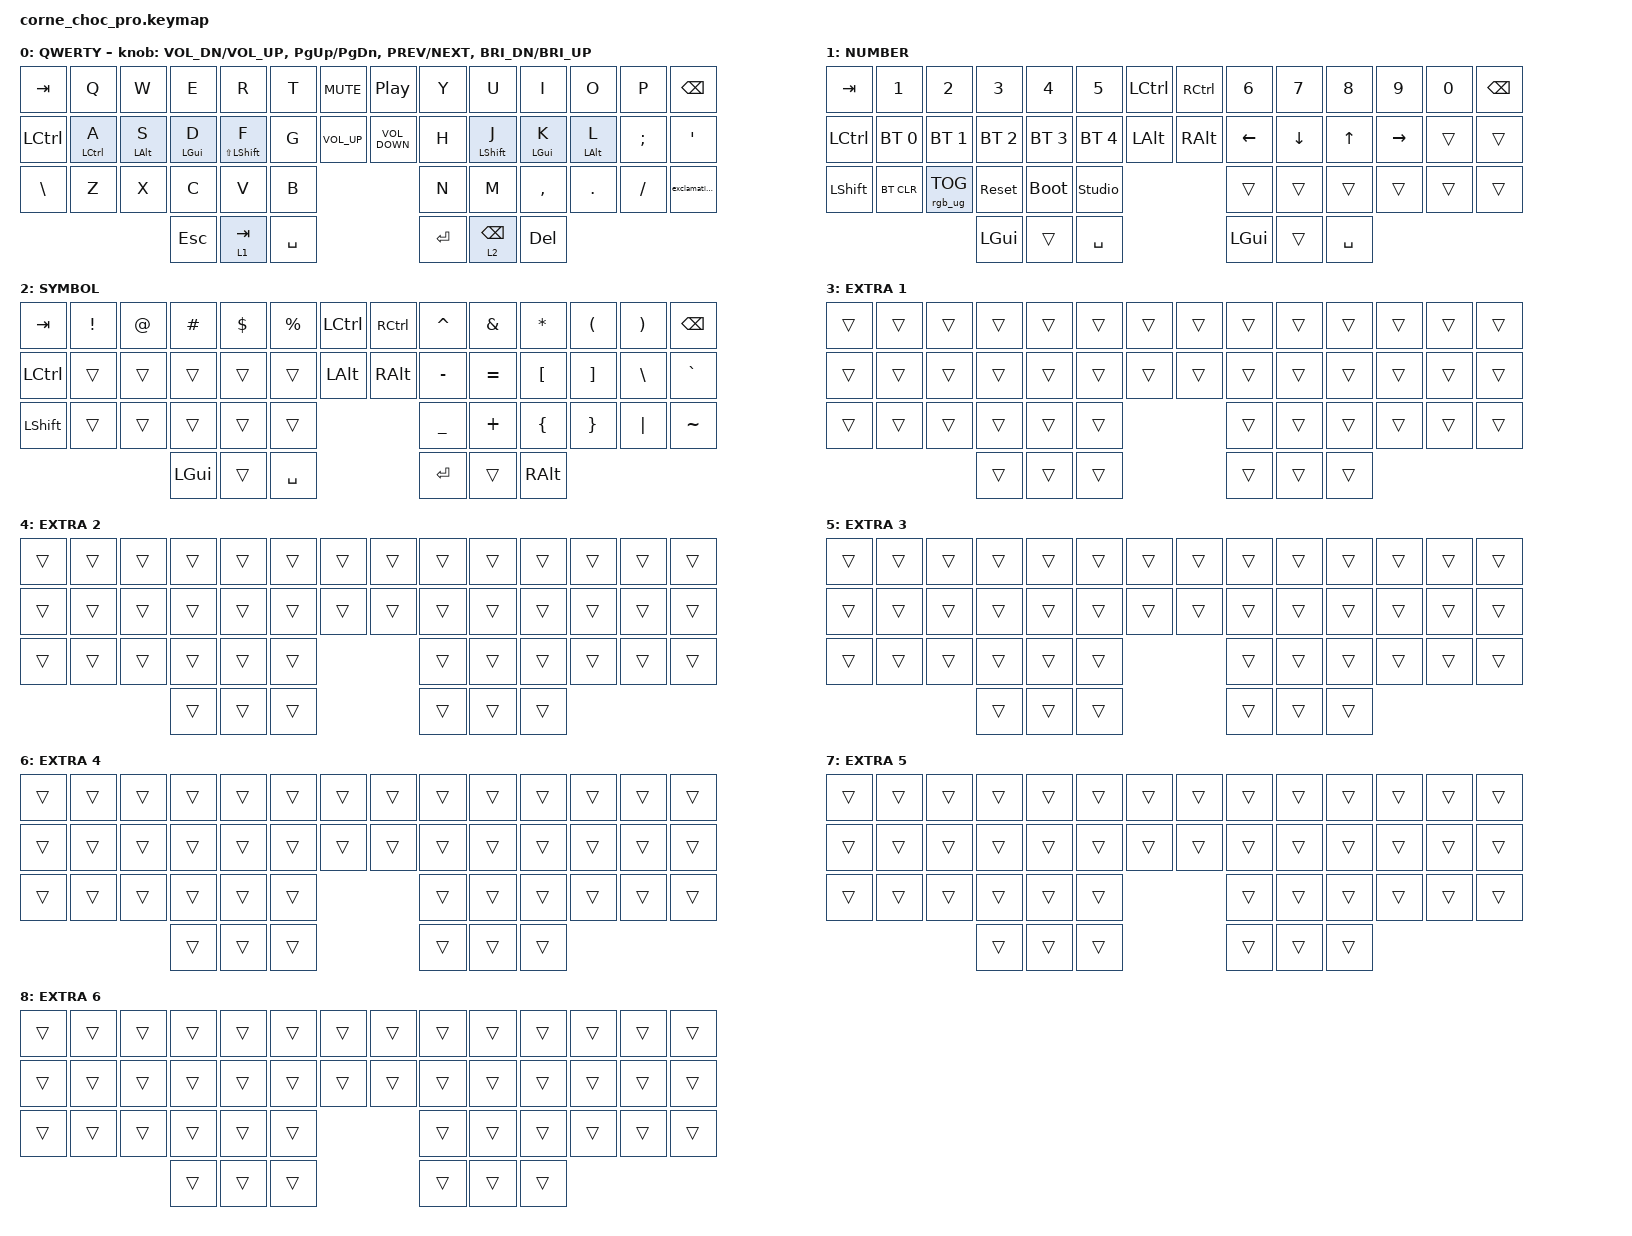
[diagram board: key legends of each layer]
/*
 * Copyright (c) 2020 The ZMK Contributors
 *
 * SPDX-License-Identifier: MIT
 */

#include <behaviors.dtsi>
#include <dt-bindings/zmk/bt.h>
#include <dt-bindings/zmk/keys.h>
#include <dt-bindings/zmk/rgb.h>

/ {
    chosen { zmk,physical-layout = &default_layout; };
};

/ {
    behaviors {
        hml: hml {
            compatible = "zmk,behavior-hold-tap";
            label = "HML";
            bindings = <&kp>, <&kp>;

            #binding-cells = <2>;
            tapping-term-ms = <180>;
            quick-tap-ms = <160>;
            require-prior-idle-ms = <80>;
            flavor = "tap-preferred";
            hold-while-undecided;
            hold-trigger-key-positions = <7 8 9 10 11 12 13 21 22 23 24 25 26 27 34 35 36 37 38 39 43 44 45>;
            hold-trigger-on-release;
        };

        hmr: hmr {
            compatible = "zmk,behavior-hold-tap";
            label = "HMR";
            bindings = <&kp>, <&kp>;

            #binding-cells = <2>;
            tapping-term-ms = <180>;
            quick-tap-ms = <160>;
            require-prior-idle-ms = <80>;
            flavor = "tap-preferred";
            hold-while-undecided;
            hold-trigger-on-release;
            hold-trigger-key-positions = <0 1 15 29 28 14 2 3 4 5 6 16 17 18 19 20 30 31 32 33 40 41 42>;
        };

        thumb_layers: thumb_layers {
            compatible = "zmk,behavior-hold-tap";
            label = "THUMB_LAYERS";
            bindings = <&mo>, <&kp>;

            #binding-cells = <2>;
            flavor = "tap-preferred";
            tapping-term-ms = <180>;
            quick-tap-ms = <160>;
            require-prior-idle-ms = <80>;
            hold-trigger-on-release;
        };

        exclamationDBTap: exclamationDBTap {
            compatible = "zmk,behavior-tap-dance";
            label = "EXCLAMATIONDBTAP";
            #binding-cells = <0>;
            bindings = <&kp EXCL>, <&kp QUESTION>;
        };
    };

    keymap {
        compatible = "zmk,keymap";

        default_layer {
            display-name = "QWERTY";

            // --------------------------------------------------------------------------------
            // |  TAB |  Q  |  W  |  E  |  R  |  T  |  MUTE |  PP   |  Y  |  U   |  I  |  O  |  P  | BSPC |
            // | CTRL |  A  |  S  |  D  |  F  |  G  |  LALT |  RALT |  H  |  J   |  K  |  L  |  ;  |  '   |
            // | SHFT |  Z  |  X  |  C  |  V  |  B  |               |  N  |  M   |  ,  |  .  |  /  | ESC  |
            //                    | GUI | LWR | SPC |               | ENT | RSE  | ALT |

            bindings = <
&kp TAB        &kp Q         &kp W            &kp E            &kp R                  &kp T      &kp C_MUTE       &kp C_PP           &kp Y    &kp U                      &kp I        &kp O            &kp P     &kp BSPC
&kp LCTRL      &hml LCTRL A  &hml LEFT_ALT S  &hml LEFT_GUI D  &hml LS(LEFT_SHIFT) F  &kp G      &kp C_VOLUME_UP  &kp C_VOLUME_DOWN  &kp H    &hmr LEFT_SHIFT J          &hmr LGUI K  &hmr LEFT_ALT L  &kp SEMI  &kp SQT
&kp BACKSLASH  &kp Z         &kp X            &kp C            &kp V                  &kp B                                          &kp N    &kp M                      &kp COMMA    &kp DOT          &kp FSLH  &exclamationDBTap
                                              &kp ESC          &thumb_layers 1 TAB    &kp SPACE                                      &kp RET  &thumb_layers 2 BACKSPACE  &kp DELETE
            >;

            sensor-bindings = <&inc_dec_kp C_VOL_DN C_VOL_UP &inc_dec_kp PG_UP PG_DN &inc_dec_kp C_PREV C_NEXT &inc_dec_kp C_BRI_DN C_BRI_UP>;
        };

        lower_layer {
            display-name = "NUMBER";

            // -----------------------------------------------------------------------------------------
            // |  TAB |  1  |  2  |  3  |  4  |  5    |  LCTRL | RCTRL |  6  |  7  |  8  |  9  |  0  | BSPC |
            // | CTRL | BT1 | BT2 | BT3 | BT4 | BT5   |  LALT  | RALT  | LFT | DWN |  UP | RGT |     |      |
            // | SHFT | BTCR| RGB | RST | BOOT| Unlock|        |       |     |     |     |     |     |      |
            //                    | GUI |     | SPC   |        | ENT   |     | ALT |

            bindings = <
&kp TAB    &kp N1        &kp N2           &kp N3        &kp N4        &kp N5          &kp LCTRL  &kp RCTRL  &kp N6    &kp N7    &kp N8     &kp N9     &kp N0  &kp BSPC
&kp LCTRL  &bt BT_SEL 0  &bt BT_SEL 1     &bt BT_SEL 2  &bt BT_SEL 3  &bt BT_SEL 4    &kp LALT   &kp RALT   &kp LEFT  &kp DOWN  &kp UP     &kp RIGHT  &trans  &trans
&kp LSHFT  &bt BT_CLR    &rgb_ug RGB_TOG  &sys_reset    &bootloader   &studio_unlock                        &trans    &trans    &trans     &trans     &trans  &trans
                                          &kp LGUI      &trans        &kp SPACE                             &kp LGUI  &trans    &kp SPACE
            >;
        };

        raise_layer {
            display-name = "SYMBOL";

            // -----------------------------------------------------------------------------------------
            // |  TAB |  !  |  @  |  #  |  $  |  %  | LCTRL | RCTRL |  ^  |  &  |  *  |  (  |  )  | BSPC |
            // | CTRL |     |     |     |     |     |  LALT | RALT  |  -  |  =  |  [  |  ]  |  \  |  `   |
            // | SHFT |     |     |     |     |     |               |  _  |  +  |  {  |  }  | "|" |  ~   |
            //                    | GUI |     | SPC |               | ENT |     | ALT |

            bindings = <
&kp TAB    &kp EXCL  &kp AT  &kp HASH  &kp DLLR  &kp PRCNT  &kp LCTRL  &kp RCTRL  &kp CARET  &kp AMPS   &kp ASTRK  &kp LPAR  &kp RPAR  &kp BSPC
&kp LCTRL  &trans    &trans  &trans    &trans    &trans     &kp LALT   &kp RALT   &kp MINUS  &kp EQUAL  &kp LBKT   &kp RBKT  &kp BSLH  &kp GRAVE
&kp LSHFT  &trans    &trans  &trans    &trans    &trans                           &kp UNDER  &kp PLUS   &kp LBRC   &kp RBRC  &kp PIPE  &kp TILDE
                             &kp LGUI  &trans    &kp SPACE                        &kp RET    &trans     &kp RALT
            >;
        };

        extra_layer_1 {
            display-name = "EXTRA 1";
            bindings = <
&trans  &trans  &trans  &trans  &trans  &trans  &trans  &trans  &trans  &trans  &trans  &trans  &trans  &trans
&trans  &trans  &trans  &trans  &trans  &trans  &trans  &trans  &trans  &trans  &trans  &trans  &trans  &trans
&trans  &trans  &trans  &trans  &trans  &trans                  &trans  &trans  &trans  &trans  &trans  &trans
                        &trans  &trans  &trans                  &trans  &trans  &trans
            >;
        };

        extra_layer_2 {
            display-name = "EXTRA 2";
            bindings = <
&trans  &trans  &trans  &trans  &trans  &trans  &trans  &trans  &trans  &trans  &trans  &trans  &trans  &trans
&trans  &trans  &trans  &trans  &trans  &trans  &trans  &trans  &trans  &trans  &trans  &trans  &trans  &trans
&trans  &trans  &trans  &trans  &trans  &trans                  &trans  &trans  &trans  &trans  &trans  &trans
                        &trans  &trans  &trans                  &trans  &trans  &trans
            >;
        };

        extra_layer_3 {
            display-name = "EXTRA 3";
            bindings = <
&trans  &trans  &trans  &trans  &trans  &trans  &trans  &trans  &trans  &trans  &trans  &trans  &trans  &trans
&trans  &trans  &trans  &trans  &trans  &trans  &trans  &trans  &trans  &trans  &trans  &trans  &trans  &trans
&trans  &trans  &trans  &trans  &trans  &trans                  &trans  &trans  &trans  &trans  &trans  &trans
                        &trans  &trans  &trans                  &trans  &trans  &trans
            >;
        };

        extra_layer_4 {
            display-name = "EXTRA 4";
            bindings = <
&trans  &trans  &trans  &trans  &trans  &trans  &trans  &trans  &trans  &trans  &trans  &trans  &trans  &trans
&trans  &trans  &trans  &trans  &trans  &trans  &trans  &trans  &trans  &trans  &trans  &trans  &trans  &trans
&trans  &trans  &trans  &trans  &trans  &trans                  &trans  &trans  &trans  &trans  &trans  &trans
                        &trans  &trans  &trans                  &trans  &trans  &trans
            >;
        };

        extra_layer_5 {
            display-name = "EXTRA 5";
            bindings = <
&trans  &trans  &trans  &trans  &trans  &trans  &trans  &trans  &trans  &trans  &trans  &trans  &trans  &trans
&trans  &trans  &trans  &trans  &trans  &trans  &trans  &trans  &trans  &trans  &trans  &trans  &trans  &trans
&trans  &trans  &trans  &trans  &trans  &trans                  &trans  &trans  &trans  &trans  &trans  &trans
                        &trans  &trans  &trans                  &trans  &trans  &trans
            >;
        };

        extra_layer_6 {
            display-name = "EXTRA 6";
            bindings = <
&trans  &trans  &trans  &trans  &trans  &trans  &trans  &trans  &trans  &trans  &trans  &trans  &trans  &trans
&trans  &trans  &trans  &trans  &trans  &trans  &trans  &trans  &trans  &trans  &trans  &trans  &trans  &trans
&trans  &trans  &trans  &trans  &trans  &trans                  &trans  &trans  &trans  &trans  &trans  &trans
                        &trans  &trans  &trans                  &trans  &trans  &trans
            >;
        };
    };
};
